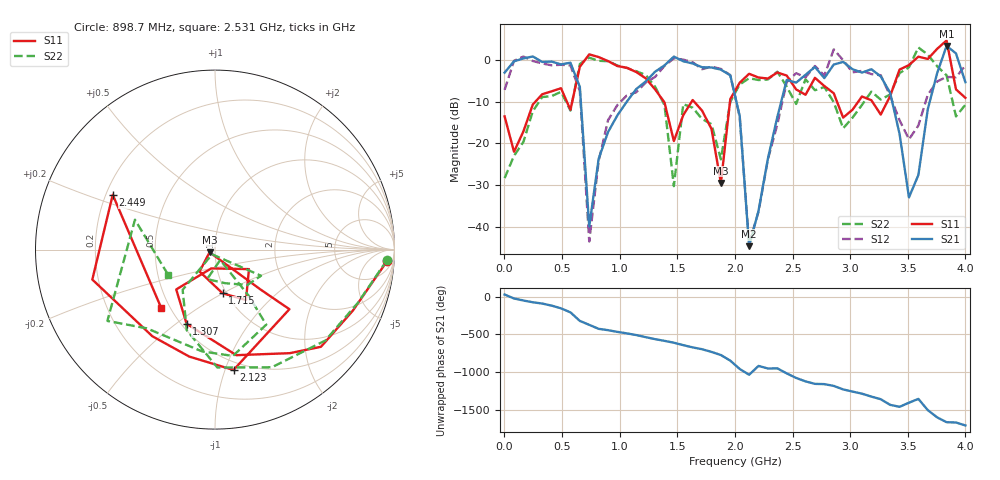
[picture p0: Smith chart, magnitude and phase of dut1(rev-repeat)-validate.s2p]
!Created with skrf (http://scikit-rf.org).
# GHz S DB R 50.0
!freq dBS11 angS11 dBS21 angS21 dBS12 angS12 dBS22 angS22
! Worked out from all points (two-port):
!   50 points, 1 MHz to 4 GHz, reference 50 ohm
!   highest |S21| = 3.30 dB at 3.837 GHz (marker M1); lowest = -44.5 dB at 2.123 GHz (marker M2)
!   |S21| within 3 dB of the highest: 164 MHz to 275.5 MHz (111.5 MHz wide, 50.7 % of centre); 3.799 GHz to 3.933 GHz (133.6 MHz wide, 3.46 % of centre) (the widest 2 of 3)
!   lowest |S11| = -29.4 dB at 1.878 GHz (marker M3), VSWR 1.07, Z = 47 - j1.41 ohm
!   |S11| at or under -10 dB: start of sweep to 269 MHz; 1.384 GHz to 1.625 GHz (241.2 MHz wide, 16 % of centre); 1.645 GHz to 1.957 GHz (312 MHz wide, 17.3 % of centre) (the widest 3 of 6)
!   |S22| runs from -30.2 to 2.9 dB; largest |S21 - S12| = 1
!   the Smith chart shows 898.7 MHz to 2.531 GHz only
!   S11 on the Smith chart (normalised r, x): 898.7 MHz: 14, -23; 1.307 GHz: 0.53, -0.55; 1.715 GHz: 0.96, -0.50; 2.123 GHz: 0.43, -1.07; 2.449 GHz: 0.23, +0.24; 2.531 GHz: 0.45, -0.36
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0.001  -13.54 56.3  -3.08 28.8  -7.20 -18.8  -28.26 146.9
0.2458367  -10.70 -157.1  0.77 -74.0  -0.31 -69.1  -12.30 -150.3
0.5722857  -11.97 71.5  -0.73 152.3  -1.39 154.6  -12.15 61.7
0.7355102  1.27 52.3  -39.81 -13.7  -43.40 -85.8  0.49 65.8
0.8987347  -0.33 -3.7  -17.26 -84.8  -14.42 -89.3  -0.36 -3.5
1.306796  -7.08 -110.9  -2.87 156.1  -4.12 157.8  -6.44 -109.3
1.388408  -10.18 -134.2  -1.36 133.4  -1.49 134.3  -10.82 -128.8
1.47002  -19.43 -101.2  0.74 108.7  0.31 104.0  -30.18 -121.9
1.714857  -12.16 -80.2  -1.80 22.1  -2.27 18.1  -14.16 -73.0
1.878082  -29.43 -153.7  -2.37 -55.1  -2.21 -59.9  -23.78 -63.4
2.041306  -5.50 -38.7  -13.41 120.1  -13.71 113.2  -5.91 -55.7
2.122918  -3.37 -81.3  -44.51 42.4  -43.81 105.8  -4.42 -80.5
2.449367  -3.79 151.8  -4.83 60.9  -5.36 60.3  -6.45 159.5
2.53098  -7.10 -132.7  -5.48 0.5  -3.22 -2.3  -10.57 -151.2
2.694204  -4.33 -134.3  -1.73 -78.1  -1.49 -62.4  -7.28 -150.2
2.939041  -13.82 100.9  -0.53 -152.0  -0.12 -150.2  -16.39 125.4
3.183878  -9.68 177.6  -2.27 112.8  -3.44 121.4  -7.62 177.9
3.347102  -8.67 -165.4  -7.91 2.9  -8.64 3.5  -8.28 -165.7
3.510327  -1.29 170.3  -32.87 31.5  -19.01 89.4  -1.80 -178.7
3.755163  2.60 84.0  -3.19 -163.7  -5.20 178.9  -1.58 103.7
3.836776  4.59 52.8  3.30 132.6  -4.11 170.1  -3.73 73.3
4  -9.10 110.2  -5.37 89.1  -1.37 65.3  -10.75 53.1
